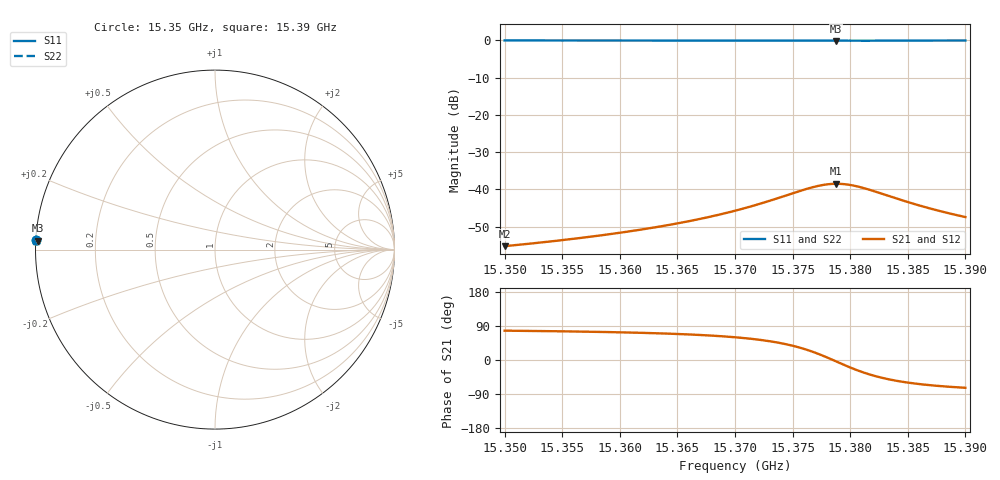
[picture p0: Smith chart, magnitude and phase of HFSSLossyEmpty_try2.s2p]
! Touchstone file exported from HFSS 2024.2.0
!  File:  C:/Users/peter/Documents/Ansoft/Maybell_cavity/CavityFromMaybell.aedt
!  Generated:  10:26:17 AM May 31, 2025
!  Design:  LossyEmpty
!  Project:  CavityFromMaybell
!  Setup:  Setup1
!  Solution:  MaybellSweep
! Variables:
!  $epsr = 5.5
!  $tandel = 0.003
!  a = 0.35in
!  d = 3.5in
!  f0_ideal = 15.3934197621267GHz
!  iris_radius = 0.0705in
!  iris_width = 0.04in
!  rwg_a = 0.622in
!  rwg_b = 0.311in
!  rwg_length = 0.3in
!Data is not renormalized
# GHz S MA
! Terminal data exported
! Port[1] = 1
! Port[2] = 2
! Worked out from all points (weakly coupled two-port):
!   1001 points, 15.35 GHz to 15.39 GHz, reference per port
!   highest |S21| = -38.51 dB at 15.3788 GHz (marker M1); lowest = -55.3 dB at 15.35 GHz (marker M2)
!   lowest |S11| = -0.1 dB at 15.3788 GHz (marker M3), VSWR 148.24
!   |S11| at or under -10 dB: nowhere
!   |S22| runs from -0.1 to 0.0 dB; largest |S21 - S12| = 1e-16
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15.35  0.9982 177.0  0.001723 77.4  0.001723 77.4  0.9982 177.0
15.35328  0.9981 177.0  0.00194 76.4  0.00194 76.4  0.9981 177.0
15.35668  0.998 177.0  0.00223 74.9  0.00223 74.9  0.998 177.0
15.3602  0.9978 177.0  0.002635 72.9  0.002635 72.9  0.9978 177.0
15.36336  0.9976 177.0  0.003141 70.4  0.003141 70.4  0.9976 177.0
15.36688  0.9971 176.9  0.003977 66.2  0.003977 66.2  0.9971 176.9
15.36848  0.9967 176.9  0.004511 63.4  0.004511 63.4  0.9967 176.9
15.37  0.9961 176.9  0.005153 60.0  0.005153 60.0  0.9961 176.9
15.37232  0.9948 176.8  0.006499 52.6  0.006499 52.6  0.9948 176.8
15.37568  0.9907 176.8  0.009554 32.2  0.009554 32.2  0.9907 176.8
15.37668  0.9889 176.9  0.01061 22.4  0.01061 22.4  0.9889 176.9
15.3778  0.9872 177.0  0.01155 9.2  0.01155 9.2  0.9872 177.0
15.37876  0.9866 177.1  0.01187 -3.5  0.01187 -3.5  0.9866 177.1
15.3788  0.9866 177.1  0.01187 -4.0  0.01187 -4.0  0.9866 177.1
15.37968  0.9871 177.3  0.01164 -15.7  0.01164 -15.7  0.9871 177.3
15.3806  0.9885 177.4  0.01095 -26.9  0.01095 -26.9  0.9885 177.4
15.38164  0.9904 177.5  0.009901 -37.7  0.009901 -37.7  0.9904 177.5
15.38336  0.9931 177.5  0.008128 -51.0  0.008128 -51.0  0.9931 177.5
15.38516  0.9949 177.4  0.006628 -60.3  0.006628 -60.3  0.9949 177.4
15.38676  0.9959 177.4  0.005622 -66.0  0.005622 -66.0  0.9959 177.4
15.38856  0.9967 177.4  0.004768 -70.6  0.004768 -70.6  0.9967 177.4
15.39  0.9971 177.4  0.004239 -73.3  0.004239 -73.3  0.9971 177.4
